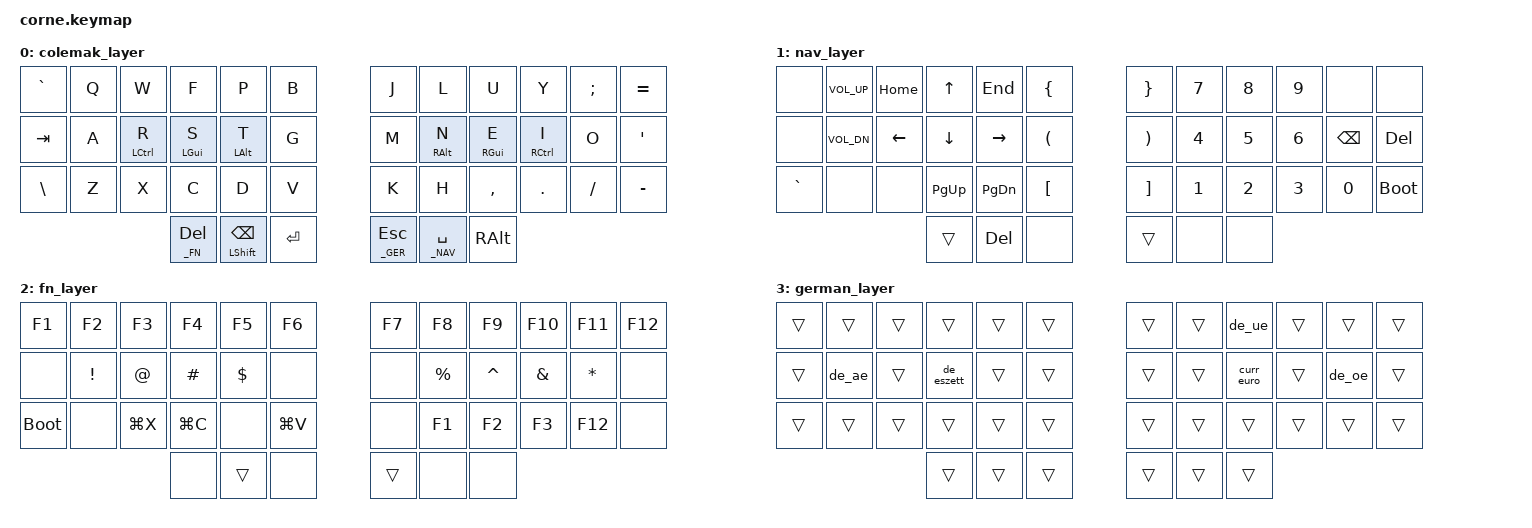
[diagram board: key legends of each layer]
/*
 * Copyright (c) 2020 The ZMK Contributors
 *
 * SPDX-License-Identifier: MIT
 */

#include <behaviors.dtsi>
#include <dt-bindings/zmk/bt.h>
#include <dt-bindings/zmk/keys.h>
#include <dt-bindings/zmk/mouse.h>

#define HOST_OS 2 // MacOS, needed for Unicode Chars, must be defined before including helper.h

// urob helpers
#include "zmk-helpers/helper.h"
#include "zmk-helpers/unicode-chars/german.dtsi"
#include "zmk-helpers/unicode-chars/currency.dtsi"

// personal includes
# include "home-row-mods.dtsi"

#define ___ &trans

// define LAYERS
#define _CMK  0
#define _NAV  1
#define _FN   2
#define _GER  3

&mt {
    tapping-term-ms = <200>;
    quick-tap-ms = <150>;
    flavor = "balanced";
};

&lt {
    tapping-term-ms = <200>;
       
    // Quickly tap-tap-holding the lt button will repeat the tap behavior
    // For example enter-enter-hold, will output multiple enter while you
    // keep holding the key.
    // But holding enter without double tapping, will activate the layer.
    quick-tap-ms = <150>;

    flavor = "balanced";
};

ZMK_LAYER(colemak_layer,
// ╭────────────────┬────────────────┬────────────────┬────────────────┬────────────────┬────────────────╮    ╭────────────────┬────────────────┬────────────────┬────────────────┬────────────────┬────────────────╮
    &kp GRAVE        &kp Q            &kp W            &kp F            &kp P            &kp B                 &kp J            &kp L            &kp U            &kp Y            &kp SEMI         &kp EQUAL
// ├────────────────┼────────────────┼────────────────┼────────────────┼────────────────┼────────────────┤    ├────────────────┼────────────────┼────────────────┼────────────────┼────────────────┼────────────────┤
    &kp TAB          &kp A            &hml LCTRL R     &hml LGUI S      &hml LALT T      &kp G                 &kp M            &hmr RALT N      &hmr RGUI E      &hmr RCTRL I     &kp O            &kp SQT
// ├────────────────┼────────────────┼────────────────┼────────────────┼────────────────┼────────────────┤    ├────────────────┼────────────────┼────────────────┼────────────────┼────────────────┼────────────────┤
    &kp BSLH         &kp Z            &kp X            &kp C            &kp D            &kp V                 &kp K            &kp H            &kp COMMA        &kp DOT          &kp FSLH         &kp MINUS
// ╰────────────────┴────────────────┴────────────────┴────────────────┼────────────────┼────────────────┤    ├────────────────┼────────────────┼────────────────┼────────────────┴────────────────┴────────────────╯
                                                       &lt _FN DEL      &mt LSHFT BSPC   &kp RET               &lt _GER ESC     &lt _NAV SPACE   &kp RALT
//                                                    ╰────────────────┴────────────────┴────────────────╯    ╰────────────────┴────────────────┴────────────────╯
)

ZMK_LAYER(nav_layer,
// ╭────────────────┬────────────────┬────────────────┬────────────────┬────────────────┬────────────────╮    ╭────────────────┬────────────────┬────────────────┬────────────────┬────────────────┬────────────────╮
    &none            &kp C_VOL_UP     &kp HOME         &kp UP           &kp END          &kp LEFT_BRACE        &kp RIGHT_BRACE  &kp N7           &kp N8           &kp N9           &none            &none
// ├────────────────┼────────────────┼────────────────┼────────────────┼────────────────┼────────────────┤    ├────────────────┼────────────────┼────────────────┼────────────────┼────────────────┼────────────────┤
    &none            &kp C_VOL_DN     &kp LEFT         &kp DOWN         &kp RIGHT        &kp LPAR              &kp RPAR         &kp N4           &kp N5           &kp N6           &kp BSPC         &kp DELETE
// ├────────────────┼────────────────┼────────────────┼────────────────┼────────────────┼────────────────┤    ├────────────────┼────────────────┼────────────────┼────────────────┼────────────────┼────────────────┤
    &kp GRAVE        &none            &none            &kp PAGE_UP      &kp PAGE_DOWN    &kp LBKT              &kp RBKT         &kp N1           &kp N2           &kp N3           &kp N0           &bootloader
// ╰────────────────┴────────────────┴────────────────┴────────────────┼────────────────┼────────────────┤    ├────────────────┼────────────────┼────────────────┼────────────────┴────────────────┴────────────────╯
                                                       ___              &kp DELETE       &none                 ___              &none            &none
//                                                    ╰────────────────┴────────────────┴────────────────╯    ╰────────────────┴────────────────┴────────────────╯
)

ZMK_LAYER(fn_layer,
// ╭────────────────┬────────────────┬────────────────┬────────────────┬────────────────┬────────────────╮    ╭────────────────┬────────────────┬────────────────┬────────────────┬────────────────┬────────────────╮
    &kp F1           &kp F2           &kp F3           &kp F4           &kp F5           &kp F6                &kp F7           &kp F8           &kp F9           &kp F10          &kp F11          &kp F12
// ├────────────────┼────────────────┼────────────────┼────────────────┼────────────────┼────────────────┤    ├────────────────┼────────────────┼────────────────┼────────────────┼────────────────┼────────────────┤
    &none            &kp EXCL         &kp AT_SIGN      &kp HASH         &kp DOLLAR       &none                 &none            &kp PERCENT      &kp CARET        &kp AMPS         &kp ASTRK        &none
// ├────────────────┼────────────────┼────────────────┼────────────────┼────────────────┼────────────────┤    ├────────────────┼────────────────┼────────────────┼────────────────┼────────────────┼────────────────┤
    &bootloader      &none            &kp LG(X)        &kp LG(C)        &none            &kp LG(V)             &none            &kp F1           &kp F2           &kp F3           &kp F12          &none
// ╰────────────────┴────────────────┴────────────────┴────────────────┼────────────────┼────────────────┤    ├────────────────┼────────────────┼────────────────┼────────────────┴────────────────┴────────────────╯
                                                       &none            ___              &none                 ___              &none            &none
//                                                    ╰────────────────┴────────────────┴────────────────╯    ╰────────────────┴────────────────┴────────────────╯
)

ZMK_LAYER(german_layer,
// ╭────────────────┬────────────────┬────────────────┬────────────────┬────────────────┬────────────────╮    ╭────────────────┬────────────────┬────────────────┬────────────────┬────────────────┬────────────────╮
    ___              ___              ___              ___              ___              ___                   ___              ___              &de_ue           ___              ___              ___
// ├────────────────┼────────────────┼────────────────┼────────────────┼────────────────┼────────────────┤    ├────────────────┼────────────────┼────────────────┼────────────────┼────────────────┼────────────────┤
    ___              &de_ae           ___              &de_eszett       ___              ___                   ___              ___              &curr_euro       ___              &de_oe           ___
// ├────────────────┼────────────────┼────────────────┼────────────────┼────────────────┼────────────────┤    ├────────────────┼────────────────┼────────────────┼────────────────┼────────────────┼────────────────┤
    ___              ___              ___              ___              ___              ___                   ___              ___              ___              ___              ___              ___
// ╰────────────────┴────────────────┴────────────────┴────────────────┼────────────────┼────────────────┤    ├────────────────┼────────────────┼────────────────┼────────────────┴────────────────┴────────────────╯
                                                       ___              ___              ___                   ___              ___              ___
//                                                    ╰────────────────┴────────────────┴────────────────╯    ╰────────────────┴────────────────┴────────────────╯
)
